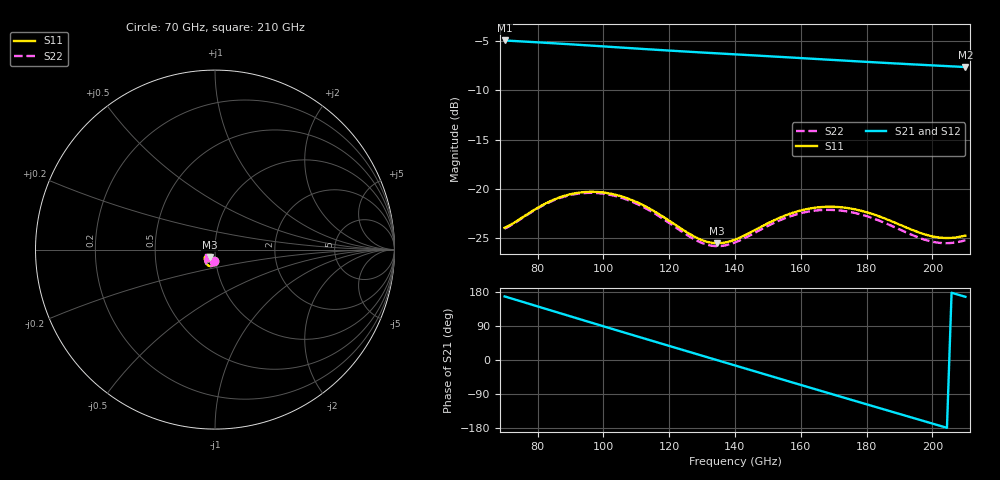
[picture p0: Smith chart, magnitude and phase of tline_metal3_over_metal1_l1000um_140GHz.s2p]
#  GHZ S DB R 50
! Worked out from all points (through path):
!   101 points, 70 GHz to 210 GHz, reference 50 ohm
!   highest |S21| = -4.90 dB at 70 GHz (marker M1); lowest = -7.6 dB at 210 GHz (marker M2)
!   group delay of S21, straight-line fit = 7.16 ps
!   lowest |S11| = -25.6 dB at 134.4 GHz (marker M3), VSWR 1.11, Z = 46.9 - j4.07 ohm
!   |S11| at or under -10 dB: start of sweep to end of sweep
!   |S22| runs from -25.9 to -20.4 dB; largest |S21 - S12| = 9.1e-14
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70  -23.99 -94.8  -4.90 167.8  -4.90 167.8  -24.08 -94.0
75.6  -22.89 -90.3  -5.01 153.1  -5.01 153.1  -22.95 -89.7
82.6  -21.49 -93.1  -5.14 134.7  -5.14 134.7  -21.55 -92.8
88.2  -20.73 -99.2  -5.26 120.0  -5.26 120.0  -20.81 -99.1
93.8  -20.37 -106.8  -5.37 105.3  -5.37 105.3  -20.46 -106.8
99.4  -20.38 -114.8  -5.49 90.6  -5.49 90.6  -20.49 -115.0
105  -20.74 -122.6  -5.62 76.1  -5.62 76.1  -20.88 -122.9
110.6  -21.45 -129.3  -5.74 61.5  -5.74 61.5  -21.62 -129.7
117.6  -22.75 -134.8  -5.88 43.4  -5.88 43.4  -22.96 -135.3
126  -24.58 -134.3  -6.05 21.7  -6.05 21.7  -24.85 -134.8
134.4  -25.57 -124.8  -6.21 0.1  -6.21 0.1  -25.87 -125.0
140  -25.20 -117.9  -6.32 -14.4  -6.32 -14.4  -25.49 -117.9
145.6  -24.31 -114.5  -6.42 -28.8  -6.42 -28.8  -24.58 -114.6
152.6  -23.11 -115.6  -6.55 -46.8  -6.55 -46.8  -23.38 -115.9
163.8  -21.97 -124.7  -6.77 -75.5  -6.77 -75.5  -22.26 -125.3
169.4  -21.85 -130.4  -6.88 -89.9  -6.88 -89.9  -22.17 -131.1
175  -22.02 -135.9  -6.99 -104.2  -6.99 -104.2  -22.38 -136.7
180.6  -22.47 -140.5  -7.09 -118.5  -7.09 -118.5  -22.87 -141.4
187.6  -23.33 -144.0  -7.22 -136.3  -7.22 -136.3  -23.80 -144.8
198.8  -24.77 -141.4  -7.42 -164.8  -7.42 -164.8  -25.32 -141.6
204.4  -25.04 -136.7  -7.52 -179.0  -7.52 -179.0  -25.56 -136.5
210  -24.79 -132.0  -7.61 166.8  -7.61 166.8  -25.26 -131.6
